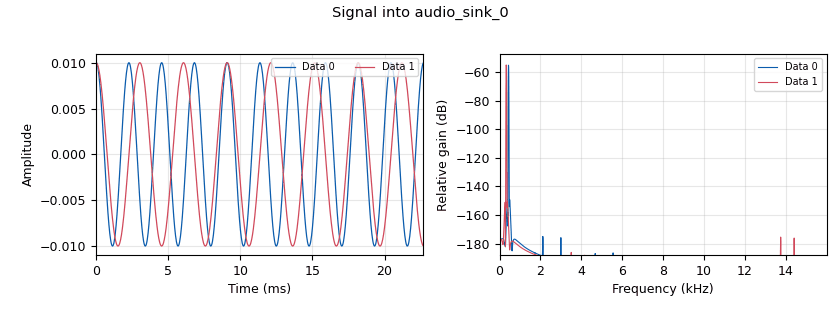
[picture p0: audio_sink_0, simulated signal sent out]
<?xml version='1.0' encoding='utf-8'?>
<?grc format='1' created='3.7.11'?>
<flow_graph>
<block>
<key>options</key>
<param><key>id</key><value>lab4_ringtones</value></param>
<param><key>generate_options</key><value>qt_gui</value></param>
</block>
<block>
<key>variable_qtgui_entry</key>
<param><key>id</key><value>amplitude</value></param>
<param><key>value</key><value>0.01</value></param>
<param><key>type</key><value>real</value></param>
</block>
<block>
<key>variable</key>
<param><key>id</key><value>samp_rate</value></param>
<param><key>value</key><value>32000</value></param>
</block>
<block>
<key>analog_sig_source_x</key>
<param><key>id</key><value>analog_sig_source_x_0</value></param>
<param><key>amp</key><value>amplitude</value></param>
<param><key>freq</key><value>440</value></param>
<param><key>offset</key><value>0</value></param>
<param><key>type</key><value>float</value></param>
<param><key>samp_rate</key><value>samp_rate</value></param>
<param><key>waveform</key><value>analog.GR_COS_WAVE</value></param>
</block>
<block>
<key>analog_sig_source_x</key>
<param><key>id</key><value>analog_sig_source_x_0_0</value></param>
<param><key>amp</key><value>amplitude</value></param>
<param><key>freq</key><value>330</value></param>
<param><key>offset</key><value>0</value></param>
<param><key>type</key><value>float</value></param>
<param><key>samp_rate</key><value>samp_rate</value></param>
<param><key>waveform</key><value>analog.GR_COS_WAVE</value></param>
</block>
<block>
<key>audio_sink</key>
<param><key>id</key><value>audio_sink_0</value></param>
<param><key>num_inputs</key><value>2</value></param>
<param><key>samp_rate</key><value>samp_rate</value></param>
</block>
<connection><source_block_id>analog_sig_source_x_0</source_block_id><sink_block_id>audio_sink_0</sink_block_id><source_key>0</source_key><sink_key>0</sink_key></connection>
<connection><source_block_id>analog_sig_source_x_0_0</source_block_id><sink_block_id>audio_sink_0</sink_block_id><source_key>0</source_key><sink_key>1</sink_key></connection>
</flow_graph>
